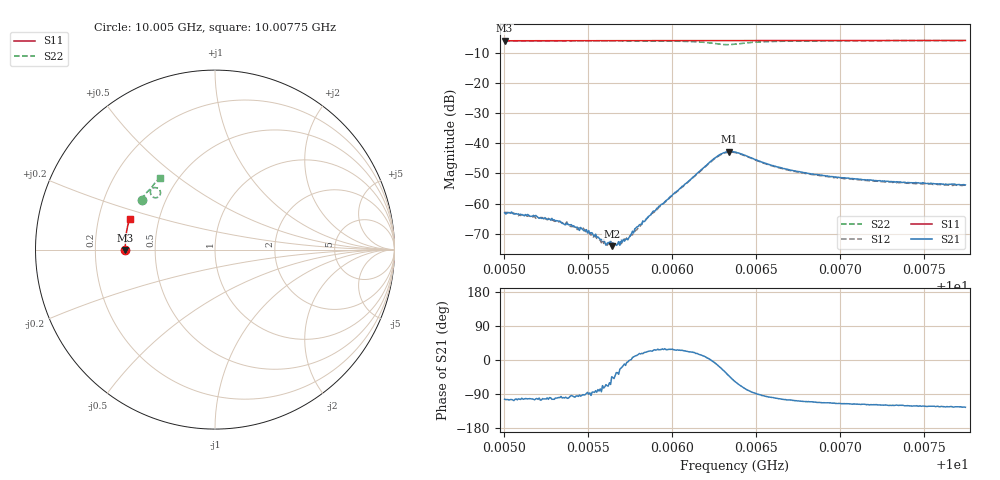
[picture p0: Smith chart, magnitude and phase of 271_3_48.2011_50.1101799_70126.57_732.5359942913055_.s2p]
#  HZ  S  RI  R  50.00
! Rohde & Schwarz Vector Network Analyzer
! Rohde-Schwarz,ZNB20-2Port,1311601062101988,3.16
! Created: UTC 3/20/2024, 11:48:11 AM
! freq[Hz]  re:S11  im:S11  re:S21  im:S21  re:S12  im:S12  re:S22  im:S22
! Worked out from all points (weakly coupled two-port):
!   401 points, 10.005 GHz to 10.00775 GHz, reference 50 ohm
!   highest |S21| = -42.75 dB at 10.00634 GHz (marker M1); lowest = -74.1 dB at 10.00564 GHz (marker M2)
!   lowest |S11| = -6.0 dB at 10.005 GHz (marker M3), VSWR 3.00, Z = 16.7 - j0.089 ohm
!   |S11| at or under -10 dB: nowhere
!   |S22| runs from -7.3 to -6.0 dB; largest |S21 - S12| = 0.00041
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1.0005002e10  -0.4995 -0.002  -0.000167 -0.000683  -0.000138 -0.000721  -0.4091 0.2781
1.0005181e10  -0.4998 0.00957  -0.00016 -0.000597  -0.00011 -0.000604  -0.4024 0.2887
1.0005298e10  -0.4999 0.0172  -0.000128 -0.000524  -6.89e-05 -0.000505  -0.3977 0.2955
1.0005462e10  -0.4998 0.0278  -2.27e-05 -0.000385  -1.31e-05 -0.000391  -0.3907 0.3054
1.0005531e10  -0.4996 0.0323  2.91e-05 -0.000298  4.51e-05 -0.000275  -0.3874 0.3097
1.0005579e10  -0.4994 0.0355  2.75e-05 -0.000254  6.25e-05 -0.000216  -0.3851 0.3126
1.0005613e10  -0.4994 0.0376  8.17e-05 -0.000202  0.000103 -0.000175  -0.3833 0.3147
1.0005641e10  -0.4993 0.0393  0.000141 -0.000137  0.000138 -0.000151  -0.382 0.3164
1.0005654e10  -0.4993 0.0403  0.000141 -0.000162  0.000153 -0.00014  -0.3811 0.3173
1.0005689e10  -0.4991 0.0426  0.000186 -8.55e-05  0.000195 -6.54e-05  -0.3794 0.3193
1.000573e10  -0.499 0.0453  0.000262 -2.93e-05  0.000268 -2.28e-05  -0.377 0.3219
1.0005792e10  -0.4988 0.0492  0.000404 8.87e-05  0.000357 9.97e-05  -0.3731 0.3261
1.000584e10  -0.4985 0.0522  0.000487 0.000179  0.000476 0.000219  -0.37 0.3293
1.0005922e10  -0.4981 0.0576  0.000809 0.000407  0.000749 0.000454  -0.3634 0.3345
1.0006238e10  -0.4955 0.078  0.00521 -0.000206  0.00508 5.03e-05  -0.3099 0.3344
1.0006293e10  -0.4949 0.0813  0.00619 -0.00247  0.00615 -0.00212  -0.3037 0.313
1.0006341e10  -0.4946 0.0841  0.00534 -0.00495  0.00547 -0.00458  -0.315 0.2939
1.0006375e10  -0.4944 0.0862  0.00389 -0.00597  0.0041 -0.00569  -0.3297 0.2888
1.0006601e10  -0.4925 0.1007  -0.000672 -0.00421  -0.000503 -0.00412  -0.3597 0.3271
1.0006835e10  -0.4899 0.1155  -0.00107 -0.00289  -0.000935 -0.00287  -0.3498 0.351
1.0007295e10  -0.483 0.1443  -0.00115 -0.00202  -0.001 -0.00204  -0.3266 0.3794
1.0007747e10  -0.4748 0.1724  -0.00116 -0.00167  -0.00104 -0.00169  -0.3036 0.4011
